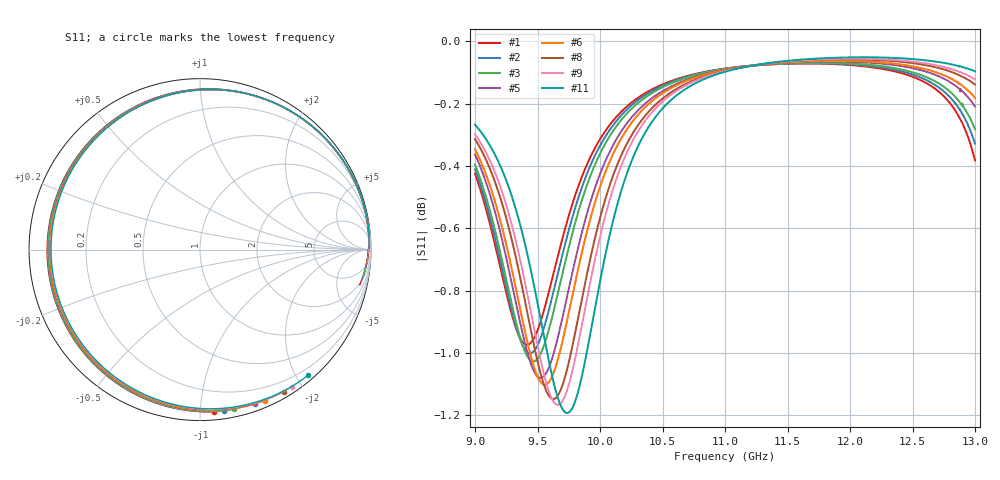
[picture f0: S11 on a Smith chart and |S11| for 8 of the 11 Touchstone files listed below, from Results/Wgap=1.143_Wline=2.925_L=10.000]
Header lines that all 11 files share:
! TOUCHSTONE file generated by CST DESIGN STUDIO
! Project name: C:\Work\MatlabApps\UnitCellOptimizationMatlab\CST\unitcell.cst
! Tree item: Tasks\Sweep1\SPara1\S-Parameters
! Header version: 2024
! Port assignment regex: !\s*Touchstone port\s*([0-9]+)\s*=\s*(CST MWS port|CST DES external port|CST DES block port)\s*(.+)\s* \(\"(.*)\"\)(\s*mode\s*([0-9]+))?.*
! Touchstone port assignment:
! Touchstone port 1 = CST DES external port 1 ("")
# GHz S MA R 50
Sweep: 9 GHz to 13 GHz
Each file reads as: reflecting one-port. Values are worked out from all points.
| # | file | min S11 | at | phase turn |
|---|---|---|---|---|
| 1 | DS_for_MWS-run-0001.s1p | -1.0 dB | 9.417 GHz | -287 deg |
| 2 | DS_for_MWS-run-0002.s1p | -1.0 dB | 9.44 GHz | -289 deg |
| 3 | DS_for_MWS-run-0003.s1p | -1.0 dB | 9.466 GHz | -291 deg |
| 4 | DS_for_MWS-run-0004.s1p | -1.1 dB | 9.495 GHz | -293 deg |
| 5 | DS_for_MWS-run-0005.s1p | -1.1 dB | 9.525 GHz | -295 deg |
| 6 | DS_for_MWS-run-0006.s1p | -1.1 dB | 9.558 GHz | -298 deg |
| 7 | DS_for_MWS-run-0007.s1p | -1.1 dB | 9.591 GHz | -300 deg |
| 8 | DS_for_MWS-run-0008.s1p | -1.1 dB | 9.626 GHz | -303 deg |
| 9 | DS_for_MWS-run-0009.s1p | -1.2 dB | 9.662 GHz | -305 deg |
| 10 | DS_for_MWS-run-0010.s1p | -1.2 dB | 9.699 GHz | -308 deg |
| 11 | DS_for_MWS-run-0011.s1p | -1.2 dB | 9.737 GHz | -310 deg |
